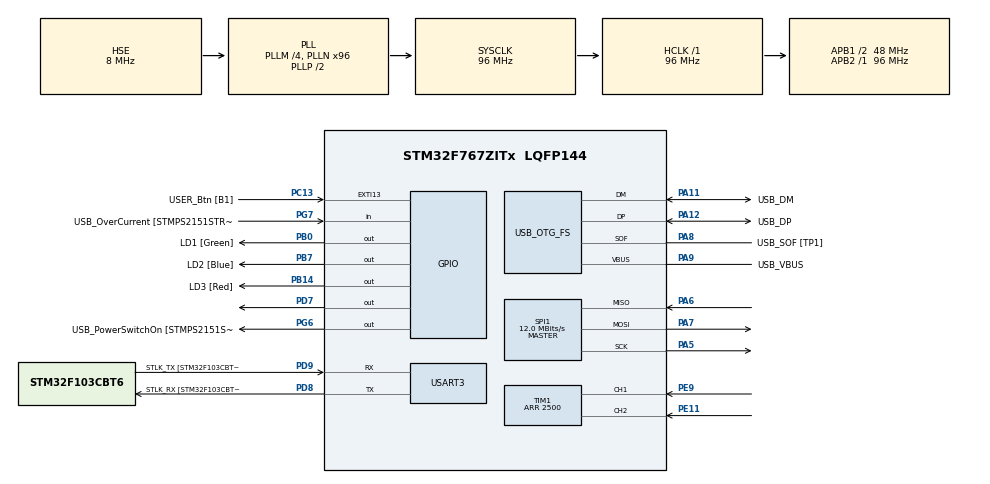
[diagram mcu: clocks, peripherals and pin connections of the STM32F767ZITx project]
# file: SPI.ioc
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Mcu.Family=STM32F7
Mcu.Name=STM32F767ZITx
Mcu.Package=LQFP144
NVIC.PriorityGroup=NVIC_PRIORITYGROUP_4
NVIC.TIM1_UP_TIM10_IRQn=true\:0\:0\:false\:false\:true\:true\:true
PA10.GPIO_Label=USB_ID
PA10.Signal=USB_OTG_FS_ID
PA11.GPIO_Label=USB_DM
PA11.Mode=Device_Only
PA11.Signal=USB_OTG_FS_DM
PA12.GPIO_Label=USB_DP
PA12.Mode=Device_Only
PA12.Signal=USB_OTG_FS_DP
PA13.GPIO_Label=TMS
PA13.Mode=Serial_Wire
PA13.Signal=SYS_JTMS-SWDIO
PA14.GPIO_Label=TCK
PA14.Mode=Serial_Wire
PA14.Signal=SYS_JTCK-SWCLK
PA5.Mode=Full_Duplex_Master
PA5.Signal=SPI1_SCK
PA6.Mode=Full_Duplex_Master
PA6.Signal=SPI1_MISO
PA7.Mode=Full_Duplex_Master
PA7.Signal=SPI1_MOSI
PA8.GPIO_Label=USB_SOF [TP1]
PA8.Mode=Activate_SOF_FS
PA8.Signal=USB_OTG_FS_SOF
PA9.GPIO_Label=USB_VBUS
PA9.Mode=Activate_VBUS
PA9.Signal=USB_OTG_FS_VBUS
PB0.GPIO_Label=LD1 [Green]
PB0.Signal=GPIO_Output
PB14.GPIO_Label=LD3 [Red]
PB14.Signal=GPIO_Output
PB7.GPIO_Label=LD2 [Blue]
PB7.Signal=GPIO_Output
PC13.GPIO_Label=USER_Btn [B1]
PC13.Signal=GPXTI13
PC14/OSC32_IN.Mode=LSE-External-Oscillator
PC14/OSC32_IN.Signal=RCC_OSC32_IN
PC15/OSC32_OUT.Mode=LSE-External-Oscillator
PC15/OSC32_OUT.Signal=RCC_OSC32_OUT
PD7.Signal=GPIO_Output
PD8.GPIO_Label=STLK_RX [STM32F103CBT6_PA3]
PD8.Mode=Asynchronous
PD8.Signal=USART3_TX
PD9.GPIO_Label=STLK_TX [STM32F103CBT6_PA2]
PD9.Mode=Asynchronous
PD9.Signal=USART3_RX
PE11.Signal=S_TIM1_CH2
PE9.Signal=S_TIM1_CH1
PG6.GPIO_Label=USB_PowerSwitchOn [STMPS2151STR_EN]
PG6.Signal=GPIO_Output
PG7.GPIO_Label=USB_OverCurrent [STMPS2151STR_FAULT]
PG7.Signal=GPIO_Input
PH0/OSC_IN.GPIO_Label=MCO [STM32F103CBT6_PA8]
PH0/OSC_IN.Mode=HSE-External-Clock-Source
PH0/OSC_IN.Signal=RCC_OSC_IN
PH1/OSC_OUT.Mode=HSE-External-Clock-Source
PH1/OSC_OUT.Signal=RCC_OSC_OUT
ProjectManager.HeapSize=0x200
ProjectManager.StackSize=0x400
ProjectManager.TargetToolchain=STM32CubeIDE
RCC.48MHZClocksFreq_Value=24000000
RCC.AHBFreq_Value=96000000
RCC.APB1CLKDivider=RCC_HCLK_DIV2
RCC.APB1Freq_Value=48000000
RCC.APB1TimFreq_Value=96000000
RCC.APB2Freq_Value=96000000
RCC.APB2TimFreq_Value=96000000
RCC.CortexFreq_Value=96000000
RCC.HCLKFreq_Value=96000000
RCC.HSE_VALUE=8000000
RCC.HSI_VALUE=16000000
RCC.PLLM=4
RCC.PLLMUL=RCC_PLL_MUL9
RCC.PLLN=96
RCC.PLLQ=4
RCC.PRESCALERUSB=RCC_USBCLKSOURCE_PLL_DIV1_5
RCC.SYSCLKFreq_VALUE=96000000
RCC.SYSCLKSource=RCC_SYSCLKSOURCE_PLLCLK
RCC.SYSCLKSourceVirtual=RCC_SYSCLKSOURCE_PLLCLK
RCC.USBFreq_Value=48000000
RCC.VCOOutputFreq_Value=192000000
SH.S_TIM1_CH1.0=TIM1_CH1,Encoder_Interface
SH.S_TIM1_CH2.0=TIM1_CH2,Encoder_Interface
SPI1.BaudRatePrescaler=SPI_BAUDRATEPRESCALER_8
SPI1.CalculateBaudRate=12.0 MBits/s
SPI1.DataSize=SPI_DATASIZE_8BIT
SPI1.Direction=SPI_DIRECTION_2LINES
SPI1.Mode=SPI_MODE_MASTER
SPI1.NSSPMode=SPI_NSS_PULSE_ENABLE
SPI1.VirtualType=VM_MASTER
TIM1.ClockDivision=TIM_CLOCKDIVISION_DIV1
TIM1.EncoderMode=TIM_ENCODERMODE_TI12
TIM1.IC1Prescaler=TIM_ICPSC_DIV1
TIM1.IC2Prescaler=TIM_ICPSC_DIV1
TIM1.Period=2500
USART3.VirtualMode-Asynchronous=VM_ASYNC
USB_OTG_FS.VirtualMode=Device_Only
VP_CRC_VS_CRC.Mode=CRC_Activate
board=NUCLEO-F767ZI

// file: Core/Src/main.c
/* USER CODE BEGIN Header */
/**
  ******************************************************************************
  * @file           : main.c
  * @brief          : Main program body
  ******************************************************************************
  * @attention
  *
  * Copyright (c) 2022 STMicroelectronics.
  * All rights reserved.
  *
  * This software is licensed under terms that can be found in the LICENSE file
  * in the root directory of this software component.
  * If no LICENSE file comes with this software, it is provided AS-IS.
  *
  ******************************************************************************
  */
/* USER CODE END Header */
#include "main.h"

CRC_HandleTypeDef hcrc;

SPI_HandleTypeDef hspi1;

TIM_HandleTypeDef htim1;

UART_HandleTypeDef huart3;

PCD_HandleTypeDef hpcd_USB_OTG_FS;

void SystemClock_Config(void);
static void MX_GPIO_Init(void);
static void MX_USART3_UART_Init(void);
static void MX_USB_OTG_FS_PCD_Init(void);
static void MX_CRC_Init(void);
static void MX_SPI1_Init(void);
static void MX_TIM1_Init(void);

int main(void)
{

  /* MCU Configuration--------------------------------------------------------*/

  /* Reset of all peripherals, Initializes the Flash interface and the Systick. */
  HAL_Init();

  /* Configure the system clock */
  SystemClock_Config();

  /* Initialize all configured peripherals */
  MX_GPIO_Init();
  MX_USART3_UART_Init();
  MX_USB_OTG_FS_PCD_Init();
  MX_CRC_Init();
  MX_SPI1_Init();
  MX_TIM1_Init();
  /* USER CODE BEGIN 2 */
  uint8_t status, manu;
  status = 0xD7;

  uint8_t TData[3];
  uint8_t RData[3];
  uint8_t PData[3];
  uint8_t msg;
  char buffer[50];
  uint16_t mover;

  uint32_t result1, result2;
  uint8_t CRCData[]={0x33, 0x33, 0x55, 0x55};
  result1 = HAL_CRC_Calculate(&hcrc, CRCData, 4);
  result2 = HAL_CRC_Accumulate(&hcrc, CRCData, 4);

  HAL_GPIO_WritePin(GPIOD, GPIO_PIN_7, GPIO_PIN_SET);
  HAL_Delay(500);
  manu = sprintf(buffer, "Hola SPI :\r\n");
  HAL_UART_Transmit(&huart3, (uint8_t *)buffer, manu, 100);

  for (uint8_t i=0; i<3; i++)
  {
	  TData[i]=0xFF;
	  RData[i]=0xFF;
  }

  HAL_GPIO_TogglePin(GPIOB, LD2_Pin);
  HAL_GPIO_WritePin(GPIOD, GPIO_PIN_7, GPIO_PIN_RESET);
  HAL_SPI_Transmit(&hspi1, (uint8_t *)&status, 1, 100);
  HAL_SPI_Receive(&hspi1, (uint8_t *)RData, 1, 100);
  HAL_SPI_Receive(&hspi1, (uint8_t *)TData, 1, 100);

  HAL_GPIO_WritePin(GPIOD, GPIO_PIN_7, GPIO_PIN_SET);
  HAL_Delay(500);

  manu = sprintf(buffer, "Status: 0x%d\r\n",(unsigned int)RData[0]);
  HAL_UART_Transmit(&huart3, (uint8_t *)buffer, manu, 100);
  manu = sprintf(buffer, "Status: 0x%hu\r\n",(unsigned int)TData[0]);
  HAL_UART_Transmit(&huart3, (uint8_t *)buffer, manu, 100);
  HAL_GPIO_TogglePin(GPIOB, LD3_Pin);
  HAL_StatusTypeDef res1, res2, res3;
  HAL_TIM_Encoder_Start_IT(&htim1, TIM_CHANNEL_ALL);
  /* USER CODE END 2 */

  /* Infinite loop */
  while (1)
  {

    /* USER CODE BEGIN 3 */
	HAL_Delay(250);
	manu = 0x9F;
	HAL_GPIO_WritePin(GPIOD, GPIO_PIN_7, GPIO_PIN_RESET);
    HAL_SPI_Transmit(&hspi1, (uint8_t *)&manu, 1, 100);
    HAL_SPI_Receive(&hspi1, (uint8_t *)RData, 1, 100);
    HAL_SPI_Receive(&hspi1, (uint8_t *)TData, 1, 100);
    HAL_SPI_Receive(&hspi1, (uint8_t *)PData, 1, 100);
    HAL_GPIO_WritePin(GPIOD, GPIO_PIN_7, GPIO_PIN_SET);

    HAL_Delay(250);
    manu = sprintf(buffer, "Manufacturer 1  : 0x%d\t",RData[0]);
    HAL_UART_Transmit(&huart3, (uint8_t *)buffer, manu, 100);
    manu = sprintf(buffer, "Manufacturer 2  : 0x%hu\t",TData[0]);
    HAL_UART_Transmit(&huart3, (uint8_t *)buffer, manu, 100);
    manu = sprintf(buffer, "Manufacturer 3  : 0x%hu\t",PData[0]);
    HAL_UART_Transmit(&huart3, (uint8_t *)buffer, manu, 100);

    manu = sprintf(buffer, "CRC CALC: 0x%x\t", result1);
    HAL_UART_Transmit(&huart3, (uint8_t *)buffer, 20, 100);
    manu = sprintf(buffer, "CRC ACUM: 0x%x\t", result2);
    HAL_UART_Transmit(&huart3, (uint8_t *)buffer, 22, 100);

    mover = __HAL_TIM_GET_COUNTER(&htim1);
    sprintf(buffer, "ENCODER : 0x%X\r\n", mover);
    HAL_UART_Transmit(&huart3, (uint8_t *)buffer, 18, 100);

  }
  /* USER CODE END 3 */
}

void SystemClock_Config(void)
{
  RCC_OscInitTypeDef RCC_OscInitStruct = {0};
  RCC_ClkInitTypeDef RCC_ClkInitStruct = {0};

  /** Configure LSE Drive Capability
  */
  HAL_PWR_EnableBkUpAccess();
  /** Configure the main internal regulator output voltage
  */
  __HAL_RCC_PWR_CLK_ENABLE();
  __HAL_PWR_VOLTAGESCALING_CONFIG(PWR_REGULATOR_VOLTAGE_SCALE3);
  /** Initializes the RCC Oscillators according to the specified parameters
  * in the RCC_OscInitTypeDef structure.
  */
  RCC_OscInitStruct.OscillatorType = RCC_OSCILLATORTYPE_HSE;
  RCC_OscInitStruct.HSEState = RCC_HSE_BYPASS;
  RCC_OscInitStruct.PLL.PLLState = RCC_PLL_ON;
  RCC_OscInitStruct.PLL.PLLSource = RCC_PLLSOURCE_HSE;
  RCC_OscInitStruct.PLL.PLLM = 4;
  RCC_OscInitStruct.PLL.PLLN = 96;
  RCC_OscInitStruct.PLL.PLLP = RCC_PLLP_DIV2;
  RCC_OscInitStruct.PLL.PLLQ = 4;
  RCC_OscInitStruct.PLL.PLLR = 2;
  if (HAL_RCC_OscConfig(&RCC_OscInitStruct) != HAL_OK)
  {
    Error_Handler();
  }
  /** Activate the Over-Drive mode
  */
  if (HAL_PWREx_EnableOverDrive() != HAL_OK)
  {
    Error_Handler();
  }
  /** Initializes the CPU, AHB and APB buses clocks
  */
  RCC_ClkInitStruct.ClockType = RCC_CLOCKTYPE_HCLK|RCC_CLOCKTYPE_SYSCLK
                              |RCC_CLOCKTYPE_PCLK1|RCC_CLOCKTYPE_PCLK2;
  RCC_ClkInitStruct.SYSCLKSource = RCC_SYSCLKSOURCE_PLLCLK;
  RCC_ClkInitStruct.AHBCLKDivider = RCC_SYSCLK_DIV1;
  RCC_ClkInitStruct.APB1CLKDivider = RCC_HCLK_DIV2;
  RCC_ClkInitStruct.APB2CLKDivider = RCC_HCLK_DIV1;

  if (HAL_RCC_ClockConfig(&RCC_ClkInitStruct, FLASH_LATENCY_3) != HAL_OK)
  {
    Error_Handler();
  }
}

static void MX_CRC_Init(void)
{

  hcrc.Instance = CRC;
  hcrc.Init.DefaultPolynomialUse = DEFAULT_POLYNOMIAL_ENABLE;
  hcrc.Init.DefaultInitValueUse = DEFAULT_INIT_VALUE_ENABLE;
  hcrc.Init.InputDataInversionMode = CRC_INPUTDATA_INVERSION_NONE;
  hcrc.Init.OutputDataInversionMode = CRC_OUTPUTDATA_INVERSION_DISABLE;
  hcrc.InputDataFormat = CRC_INPUTDATA_FORMAT_BYTES;
  if (HAL_CRC_Init(&hcrc) != HAL_OK)
  {
    Error_Handler();
  }

}

static void MX_SPI1_Init(void)
{

  /* SPI1 parameter configuration*/
  hspi1.Instance = SPI1;
  hspi1.Init.Mode = SPI_MODE_MASTER;
  hspi1.Init.Direction = SPI_DIRECTION_2LINES;
  hspi1.Init.DataSize = SPI_DATASIZE_8BIT;
  hspi1.Init.CLKPolarity = SPI_POLARITY_LOW;
  hspi1.Init.CLKPhase = SPI_PHASE_1EDGE;
  hspi1.Init.NSS = SPI_NSS_SOFT;
  hspi1.Init.BaudRatePrescaler = SPI_BAUDRATEPRESCALER_8;
  hspi1.Init.FirstBit = SPI_FIRSTBIT_MSB;
  hspi1.Init.TIMode = SPI_TIMODE_DISABLE;
  hspi1.Init.CRCCalculation = SPI_CRCCALCULATION_DISABLE;
  hspi1.Init.CRCPolynomial = 7;
  hspi1.Init.CRCLength = SPI_CRC_LENGTH_DATASIZE;
  hspi1.Init.NSSPMode = SPI_NSS_PULSE_ENABLE;
  if (HAL_SPI_Init(&hspi1) != HAL_OK)
  {
    Error_Handler();
  }

}

static void MX_TIM1_Init(void)
{

  TIM_Encoder_InitTypeDef sConfig = {0};
  TIM_MasterConfigTypeDef sMasterConfig = {0};

  htim1.Instance = TIM1;
  htim1.Init.Prescaler = 0;
  htim1.Init.CounterMode = TIM_COUNTERMODE_UP;
  htim1.Init.Period = 2500;
  htim1.Init.ClockDivision = TIM_CLOCKDIVISION_DIV1;
  htim1.Init.RepetitionCounter = 0;
  htim1.Init.AutoReloadPreload = TIM_AUTORELOAD_PRELOAD_DISABLE;
  sConfig.EncoderMode = TIM_ENCODERMODE_TI12;
  sConfig.IC1Polarity = TIM_ICPOLARITY_RISING;
  sConfig.IC1Selection = TIM_ICSELECTION_DIRECTTI;
  sConfig.IC1Prescaler = TIM_ICPSC_DIV1;
  sConfig.IC1Filter = 0;
  sConfig.IC2Polarity = TIM_ICPOLARITY_RISING;
  sConfig.IC2Selection = TIM_ICSELECTION_DIRECTTI;
  sConfig.IC2Prescaler = TIM_ICPSC_DIV1;
  sConfig.IC2Filter = 0;
  if (HAL_TIM_Encoder_Init(&htim1, &sConfig) != HAL_OK)
  {
    Error_Handler();
  }
  sMasterConfig.MasterOutputTrigger = TIM_TRGO_RESET;
  sMasterConfig.MasterOutputTrigger2 = TIM_TRGO2_RESET;
  sMasterConfig.MasterSlaveMode = TIM_MASTERSLAVEMODE_DISABLE;
  if (HAL_TIMEx_MasterConfigSynchronization(&htim1, &sMasterConfig) != HAL_OK)
  {
    Error_Handler();
  }

}

static void MX_USART3_UART_Init(void)
{

  huart3.Instance = USART3;
  huart3.Init.BaudRate = 115200;
  huart3.Init.WordLength = UART_WORDLENGTH_8B;
  huart3.Init.StopBits = UART_STOPBITS_1;
  huart3.Init.Parity = UART_PARITY_NONE;
  huart3.Init.Mode = UART_MODE_TX_RX;
  huart3.Init.HwFlowCtl = UART_HWCONTROL_NONE;
  huart3.Init.OverSampling = UART_OVERSAMPLING_16;
  huart3.Init.OneBitSampling = UART_ONE_BIT_SAMPLE_DISABLE;
  huart3.AdvancedInit.AdvFeatureInit = UART_ADVFEATURE_NO_INIT;
  if (HAL_UART_Init(&huart3) != HAL_OK)
  {
    Error_Handler();
  }

}

static void MX_USB_OTG_FS_PCD_Init(void)
{

  hpcd_USB_OTG_FS.Instance = USB_OTG_FS;
  hpcd_USB_OTG_FS.Init.dev_endpoints = 6;
  hpcd_USB_OTG_FS.Init.speed = PCD_SPEED_FULL;
  hpcd_USB_OTG_FS.Init.dma_enable = DISABLE;
  hpcd_USB_OTG_FS.Init.phy_itface = PCD_PHY_EMBEDDED;
  hpcd_USB_OTG_FS.Init.Sof_enable = ENABLE;
  hpcd_USB_OTG_FS.Init.low_power_enable = DISABLE;
  hpcd_USB_OTG_FS.Init.lpm_enable = DISABLE;
  hpcd_USB_OTG_FS.Init.vbus_sensing_enable = ENABLE;
  hpcd_USB_OTG_FS.Init.use_dedicated_ep1 = DISABLE;
  if (HAL_PCD_Init(&hpcd_USB_OTG_FS) != HAL_OK)
  {
    Error_Handler();
  }

}

static void MX_GPIO_Init(void)
{
  GPIO_InitTypeDef GPIO_InitStruct = {0};

  /* GPIO Ports Clock Enable */
  __HAL_RCC_GPIOC_CLK_ENABLE();
  __HAL_RCC_GPIOH_CLK_ENABLE();
  __HAL_RCC_GPIOA_CLK_ENABLE();
  __HAL_RCC_GPIOB_CLK_ENABLE();
  __HAL_RCC_GPIOE_CLK_ENABLE();
  __HAL_RCC_GPIOD_CLK_ENABLE();
  __HAL_RCC_GPIOG_CLK_ENABLE();

  /*Configure GPIO pin Output Level */
  HAL_GPIO_WritePin(GPIOB, LD1_Pin|LD3_Pin|LD2_Pin, GPIO_PIN_RESET);

  /*Configure GPIO pin Output Level */
  HAL_GPIO_WritePin(USB_PowerSwitchOn_GPIO_Port, USB_PowerSwitchOn_Pin, GPIO_PIN_RESET);

  /*Configure GPIO pin Output Level */
  HAL_GPIO_WritePin(GPIOD, GPIO_PIN_7, GPIO_PIN_RESET);

  /*Configure GPIO pin : USER_Btn_Pin */
  GPIO_InitStruct.Pin = USER_Btn_Pin;
  GPIO_InitStruct.Mode = GPIO_MODE_IT_RISING;
  GPIO_InitStruct.Pull = GPIO_NOPULL;
  HAL_GPIO_Init(USER_Btn_GPIO_Port, &GPIO_InitStruct);

  /*Configure GPIO pins : LD1_Pin LD3_Pin LD2_Pin */
  GPIO_InitStruct.Pin = LD1_Pin|LD3_Pin|LD2_Pin;
  GPIO_InitStruct.Mode = GPIO_MODE_OUTPUT_PP;
  GPIO_InitStruct.Pull = GPIO_NOPULL;
  GPIO_InitStruct.Speed = GPIO_SPEED_FREQ_LOW;
  HAL_GPIO_Init(GPIOB, &GPIO_InitStruct);

  /*Configure GPIO pin : USB_PowerSwitchOn_Pin */
  GPIO_InitStruct.Pin = USB_PowerSwitchOn_Pin;
  GPIO_InitStruct.Mode = GPIO_MODE_OUTPUT_PP;
  GPIO_InitStruct.Pull = GPIO_NOPULL;
  GPIO_InitStruct.Speed = GPIO_SPEED_FREQ_LOW;
  HAL_GPIO_Init(USB_PowerSwitchOn_GPIO_Port, &GPIO_InitStruct);

  /*Configure GPIO pin : USB_OverCurrent_Pin */
  GPIO_InitStruct.Pin = USB_OverCurrent_Pin;
  GPIO_InitStruct.Mode = GPIO_MODE_INPUT;
  GPIO_InitStruct.Pull = GPIO_NOPULL;
  HAL_GPIO_Init(USB_OverCurrent_GPIO_Port, &GPIO_InitStruct);

  /*Configure GPIO pin : PD7 */
  GPIO_InitStruct.Pin = GPIO_PIN_7;
  GPIO_InitStruct.Mode = GPIO_MODE_OUTPUT_PP;
  GPIO_InitStruct.Pull = GPIO_NOPULL;
  GPIO_InitStruct.Speed = GPIO_SPEED_FREQ_LOW;
  HAL_GPIO_Init(GPIOD, &GPIO_InitStruct);

}

void Error_Handler(void)
{
  __disable_irq();
  while (1)
  {
  }
}
